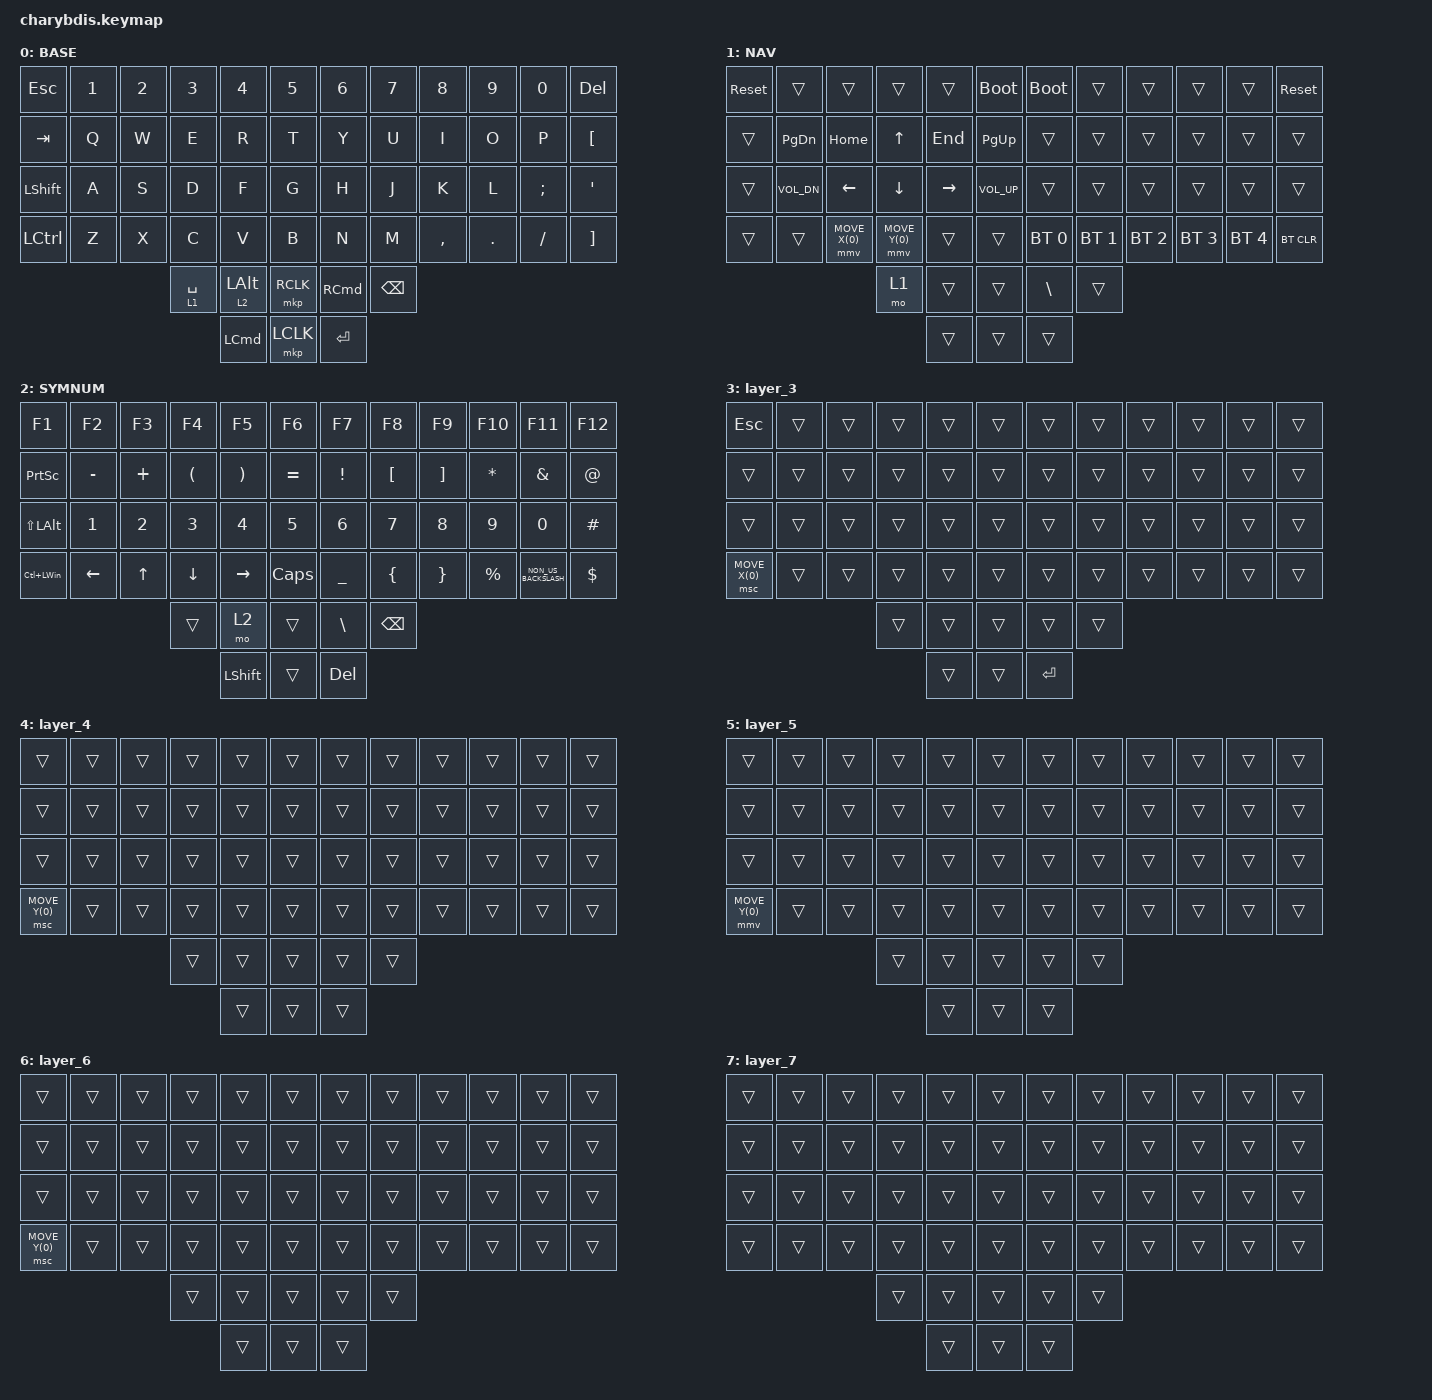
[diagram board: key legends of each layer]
#include "keys_de_swiss.h"
#include <dt-bindings/zmk/mouse.h>
#include <behaviors/mouse_keys.dtsi>
#include <behaviors.dtsi>
#include <dt-bindings/zmk/bt.h>
#include <dt-bindings/zmk/keys.h>
#include <dt-bindings/zmk/pointing.h>

// / {
//     chosen { zmk,matrix_transform = &default_transform; };
// };

/ {
    /* input config for mouse move mode */

    trackball_listener {
        compatible = "zmk,input-behavior-listener";
        device = <&vtrackball>;
        layers = <0 4>;
        evt-type = <INPUT_EV_REL>;
        x-input-code = <INPUT_REL_X>;
        y-input-code = <INPUT_REL_Y>;
        scale-multiplier = <1>;
        scale-divisor = <6>;

        // bindings = <&ib_toggle_layer 4>;
    };

    /* input config for snipe mode */

    trackball_snipe_listener {
        compatible = "zmk,input-behavior-listener";
        device = <&vtrackball>;
        layers = <3>;
        evt-type = <INPUT_EV_REL>;
        x-input-code = <INPUT_REL_X>;
        y-input-code = <INPUT_REL_Y>;
        scale-multiplier = <1>;
        scale-divisor = <8>;
    };

    /* input config for mouse scroll mode */

    trackball_scroll_listener {
        compatible = "zmk,input-behavior-listener";
        device = <&vtrackball>;
        layers = <1>;
        evt-type = <INPUT_EV_REL>;
        x-input-code = <INPUT_REL_MISC>;
        y-input-code = <INPUT_REL_WHEEL>;
        scale-divisor = <8>;
        bindings = <&ib_wheel_scaler 1 14>;
    };

    trackball_arrow_listener {
        compatible = "zmk,input-behavior-listener";
        device = <&vtrackball>;
        layers = <2>; // Працює тільки на шарі 2
        evt-type = <INPUT_EV_REL>;
        x-input-code = <INPUT_REL_X>;
        y-input-code = <INPUT_REL_Y>;
        scale-multiplier = <1>;
        scale-divisor = <1>;
        bindings = <&ib_arrow_nav>; // Використовуємо наш новий behavior
    };

    /* define a resolution down scaler only for INPUT_REL_WHEEL */

    ib_wheel_scaler: ib_wheel_scaler {
        compatible = "zmk,input-behavior-scaler";
        #binding-cells = <2>;
        evt-type = <INPUT_EV_REL>;
        input-code = <INPUT_REL_WHEEL>;
    };

    /* adjust cooldown waiting period for mouse key layer after activated */

    ib_toggle_layer: ib_toggle_layer {
        compatible = "zmk,input-behavior-tog-layer";
        #binding-cells = <1>;
        time-to-live-ms = <500>;
    };

    ib_arrow_nav: ib_arrow_nav {
        compatible = "zmk,input-behavior-move-to-keypress";
        #binding-cells = <0>;
        threshold = <250>;
        x-threshold = < 200>;
        y-threshold = <300>;
        rate-limit-ms = <15>;
        reset-other-axis;
        bindings = <&kp RIGHT>, <&kp LEFT>, <&kp UP>, <&kp DOWN>;
    };

    // #define QUERTZ    0
    // #define NUMBERS   1
    // #define NAV-FUN   2
    // #define MAC       3
    // #define MAC-NUM   4
    // #define MAC-NAV   5
    // #define GAME      6
    // #define GAME-NUM  7
    // #define GAME-NAV  8
    // #define SCROLL    9
    // #define SNIPER   10
    // #define FN       11

    combos {
        compatible = "zmk,combos";

        ckp {
            bindings = <&mkp MCLK>;
            key-positions = <54 50>;
            layers = <0>;
        };
    };

    behaviors {
        homerow: homerow {
            compatible = "zmk,behavior-hold-tap";
            label = "HOMEROW";
            bindings = <&kp>, <&kp>;

            #binding-cells = <2>;
            tapping-term-ms = <150>;
            quick-tap-ms = <0>;
            flavor = "tap-preferred";
        };
    };

    keymap {
        compatible = "zmk,keymap";

        BASE {
            bindings = <
&kp ESC           &kp N1  &kp N2  &kp N3       &kp N4            &kp N5       &kp N6             &kp N7         &kp N8     &kp N9   &kp N0    &kp DELETE
&kp TAB           &kp Q   &kp W   &kp E        &kp R             &kp T        &kp Y              &kp U          &kp I      &kp O    &kp P     &kp LBKT
&kp LSHFT         &kp A   &kp S   &kp D        &kp F             &kp G        &kp H              &kp J          &kp K      &kp L    &kp SEMI  &kp SQT
&kp LEFT_CONTROL  &kp Z   &kp X   &kp C        &kp V             &kp B        &kp N              &kp M          &kp COMMA  &kp DOT  &kp FSLH  &kp RIGHT_BRACKET
                                  &lt 1 SPACE  &lt 2 LEFT_ALT    &mkp RCLK    &kp RIGHT_COMMAND  &kp BACKSPACE
                                               &kp LEFT_COMMAND  &mkp LCLK    &kp ENTER
            >;
        };

        NAV {
            bindings = <
&sys_reset  &trans         &trans          &trans          &trans     &bootloader        &bootloader   &trans        &trans        &trans        &trans        &sys_reset
&trans      &kp PAGE_DOWN  &kp HOME        &kp UP          &kp END    &kp PAGE_UP        &trans        &trans        &trans        &trans        &trans        &trans
&trans      &kp C_VOL_DN   &kp LEFT        &kp DOWN        &kp RIGHT  &kp C_VOLUME_UP    &trans        &trans        &trans        &trans        &trans        &trans
&trans      &trans         &mmv MOVE_X(0)  &mmv MOVE_Y(0)  &trans     &trans             &bt BT_SEL 0  &bt BT_SEL 1  &bt BT_SEL 2  &bt BT_SEL 3  &bt BT_SEL 4  &bt BT_CLR
                                           &mo 1           &trans     &trans             &kp BSLH      &trans
                                                           &trans     &trans             &trans
            >;
        };

        SYMNUM {
            bindings = <
&kp F1            &kp F2          &kp F3        &kp F4                &kp F5                 &kp F6          &kp F7           &kp F8            &kp F9             &kp F10       &kp F11               &kp F12
&kp PRINTSCREEN   &kp MINUS       &kp PLUS      &kp LEFT_PARENTHESIS  &kp RIGHT_PARENTHESIS  &kp EQUAL       &kp EXCLAMATION  &kp LEFT_BRACKET  &kp RIGHT_BRACKET  &kp ASTERISK  &kp AMPERSAND         &kp AT
&kp LS(LEFT_ALT)  &kp NUMBER_1    &kp NUMBER_2  &kp NUMBER_3          &kp NUMBER_4           &kp N5          &kp NUMBER_6     &kp N7            &kp N8             &kp N9        &kp N0                &kp HASH
&kp LC(LEFT_WIN)  &kp LEFT_ARROW  &kp UP_ARROW  &kp DOWN_ARROW        &kp RIGHT_ARROW        &kp CAPSLOCK    &kp UNDERSCORE   &kp LEFT_BRACE    &kp RIGHT_BRACE    &kp PERCENT   &kp NON_US_BACKSLASH  &kp DOLLAR
                                                &trans                &mo 2                  &trans          &kp BSLH         &kp BSPC
                                                                      &kp LEFT_SHIFT         &trans          &kp DEL
            >;
        };

        layer_3 {
            bindings = <
&kp ESC         &trans  &trans  &trans  &trans  &trans    &trans     &trans  &trans  &trans  &trans  &trans
&trans          &trans  &trans  &trans  &trans  &trans    &trans     &trans  &trans  &trans  &trans  &trans
&trans          &trans  &trans  &trans  &trans  &trans    &trans     &trans  &trans  &trans  &trans  &trans
&msc MOVE_X(0)  &trans  &trans  &trans  &trans  &trans    &trans     &trans  &trans  &trans  &trans  &trans
                                &trans  &trans  &trans    &trans     &trans
                                        &trans  &trans    &kp ENTER
            >;
        };

        layer_4 {
            bindings = <
&trans          &trans  &trans  &trans  &trans  &trans    &trans  &trans  &trans  &trans  &trans  &trans
&trans          &trans  &trans  &trans  &trans  &trans    &trans  &trans  &trans  &trans  &trans  &trans
&trans          &trans  &trans  &trans  &trans  &trans    &trans  &trans  &trans  &trans  &trans  &trans
&msc MOVE_Y(0)  &trans  &trans  &trans  &trans  &trans    &trans  &trans  &trans  &trans  &trans  &trans
                                &trans  &trans  &trans    &trans  &trans
                                        &trans  &trans    &trans
            >;
        };

        layer_5 {
            bindings = <
&trans          &trans  &trans  &trans  &trans  &trans    &trans  &trans  &trans  &trans  &trans  &trans
&trans          &trans  &trans  &trans  &trans  &trans    &trans  &trans  &trans  &trans  &trans  &trans
&trans          &trans  &trans  &trans  &trans  &trans    &trans  &trans  &trans  &trans  &trans  &trans
&mmv MOVE_Y(0)  &trans  &trans  &trans  &trans  &trans    &trans  &trans  &trans  &trans  &trans  &trans
                                &trans  &trans  &trans    &trans  &trans
                                        &trans  &trans    &trans
            >;
        };

        layer_6 {
            bindings = <
&trans          &trans  &trans  &trans  &trans  &trans    &trans  &trans  &trans  &trans  &trans  &trans
&trans          &trans  &trans  &trans  &trans  &trans    &trans  &trans  &trans  &trans  &trans  &trans
&trans          &trans  &trans  &trans  &trans  &trans    &trans  &trans  &trans  &trans  &trans  &trans
&msc MOVE_Y(0)  &trans  &trans  &trans  &trans  &trans    &trans  &trans  &trans  &trans  &trans  &trans
                                &trans  &trans  &trans    &trans  &trans
                                        &trans  &trans    &trans
            >;
        };

        layer_7 {
            bindings = <
&trans  &trans  &trans  &trans  &trans  &trans    &trans  &trans  &trans  &trans  &trans  &trans
&trans  &trans  &trans  &trans  &trans  &trans    &trans  &trans  &trans  &trans  &trans  &trans
&trans  &trans  &trans  &trans  &trans  &trans    &trans  &trans  &trans  &trans  &trans  &trans
&trans  &trans  &trans  &trans  &trans  &trans    &trans  &trans  &trans  &trans  &trans  &trans
                        &trans  &trans  &trans    &trans  &trans
                                &trans  &trans    &trans
            >;
        };
    };
};
